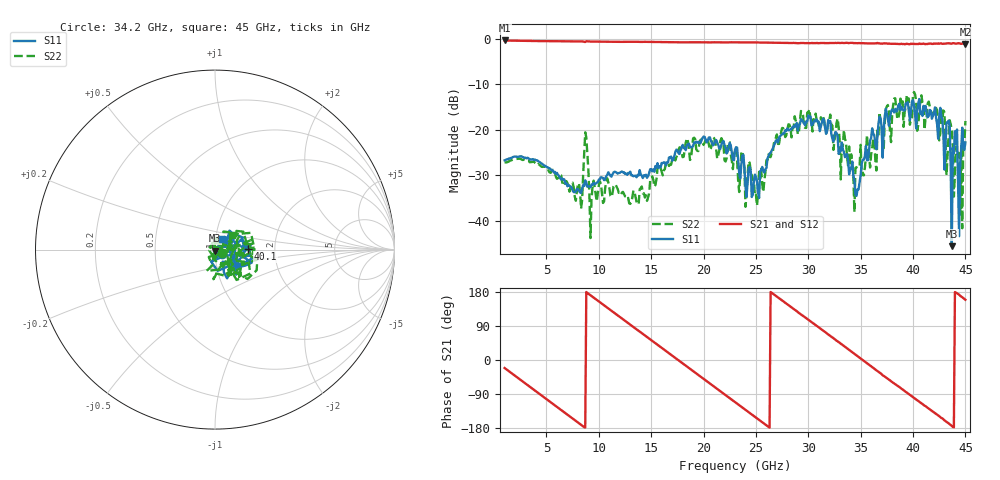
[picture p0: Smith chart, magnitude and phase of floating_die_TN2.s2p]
!Keysight Technologies,N5247B,MY61255062,A.19.80.06
!Date: Monday, May 18, 2026 13:02:51
!Correction: S11(Cdelta 2-Port  )
!S21(Cdelta 2-Port  )
!S12(Cdelta 2-Port  )
!S22(Cdelta 2-Port  )
!S2P File: Measurements: S11, S21, S12, S22:
# Hz S  dB  R 50
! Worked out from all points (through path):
!   441 points, 1 GHz to 45 GHz, reference 50 ohm
!   highest |S21| = -0.41 dB at 1 GHz (marker M1); lowest = -1.3 dB at 45 GHz (marker M2)
!   group delay of S21, straight-line fit = 56.7 ps
!   lowest |S11| = -45.6 dB at 43.7 GHz (marker M3), VSWR 1.01, Z = 50 - j0.525 ohm
!   |S11| at or under -10 dB: start of sweep to end of sweep
!   |S22| runs from -43.8 to -11.7 dB; largest |S21 - S12| = 0.016
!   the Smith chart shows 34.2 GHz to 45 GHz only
!   S11 on the Smith chart (normalised r, x): 34.2 GHz: 1.08, -0.05; 40.1 GHz: 1.45, +0.01; 45 GHz: 1.08, +0.13
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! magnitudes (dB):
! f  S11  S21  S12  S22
! 1 GHz  -26.7  -0.4  -0.4  -27.2
! 8.4 GHz  -32.9  -0.6  -0.6  -35.5
! 8.8 GHz  -31.7  -0.6  -0.6  -21.7
! 9.3 GHz  -32.0  -0.7  -0.7  -35.3
! 14.6 GHz  -30.6  -0.7  -0.7  -35.6
! 15.7 GHz  -28.4  -0.8  -0.8  -27.9
! 23 GHz  -24.4  -0.8  -0.8  -24.8
! 25 GHz  -30.3  -0.9  -0.8  -34.3
! 27.5 GHz  -21.0  -0.9  -0.9  -19.6
! 30.4 GHz  -18.9  -1.0  -1.0  -20.4
! 32.8 GHz  -21.5  -0.9  -1.0  -17.5
! 34.2 GHz  -27.0  -0.9  -1.0  -27.3
! 34.7 GHz  -33.1  -1.0  -1.0  -27.9
! 36.1 GHz  -19.7  -1.0  -1.0  -24.0
! 37.7 GHz  -19.1  -1.1  -1.1  -16.0
! 40.1 GHz  -14.7  -1.2  -1.2  -11.7
! 42.8 GHz  -17.8  -1.2  -1.1  -17.6
! 43.3 GHz  -18.5  -1.0  -1.0  -25.4
! 43.7 GHz  -45.6  -1.1  -1.0  -20.3
! 44 GHz  -20.4  -1.1  -1.1  -29.9
! 44.5 GHz  -27.5  -1.1  -1.1  -38.6
! 45 GHz  -22.8  -1.3  -1.2  -18.1
